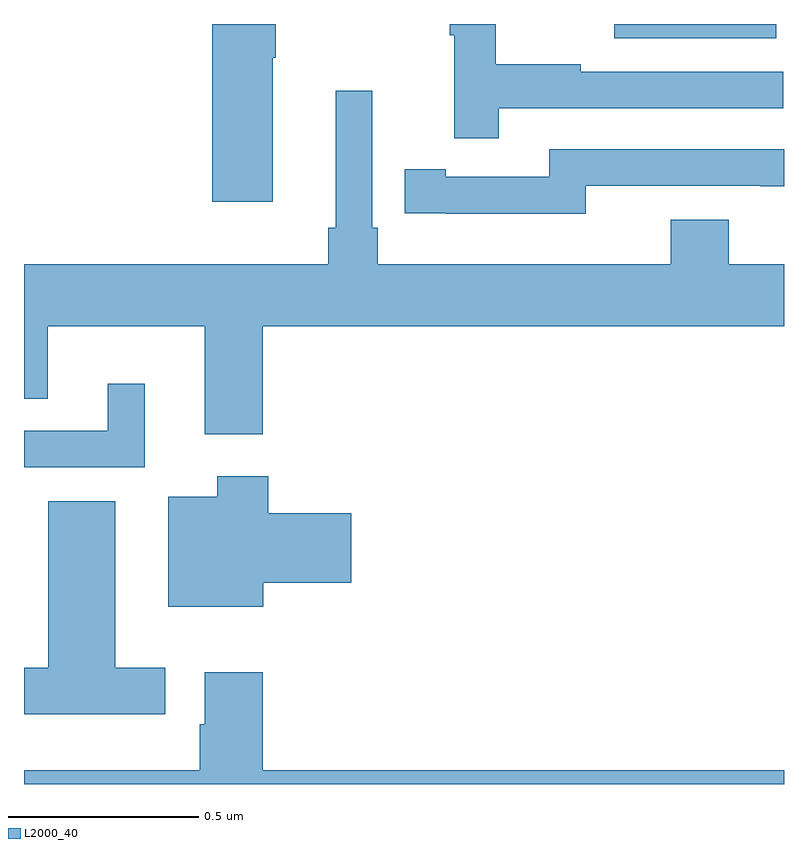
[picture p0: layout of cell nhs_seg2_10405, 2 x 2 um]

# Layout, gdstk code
import gdstk
lib = gdstk.Library(unit=1e-6, precision=1e-09)
def R(c, l, rs):  # rectangles x0, y0, x1, y1
    for r in rs: c.add(gdstk.rectangle(r[:2], r[2:], *l))
def P(c, l, *ps):  # polygons
    for p in ps: c.add(gdstk.Polygon(p, *l))
L2000_40 = (2000, 40)

nhs_seg2_10405 = lib.new_cell('nhs_seg2_10405')
R(nhs_seg2_10405, L2000_40, [(242.553,613.763,242.98,613.8)])
P(nhs_seg2_10405, L2000_40, [(242.249,613.578),(242.998,613.578),(242.998,613.674),(242.465,613.674),(242.465,613.694),(242.242,613.694),(242.242,613.8),(242.121,613.8),(242.121,613.771),(242.132,613.771),(242.132,613.5),(242.249,613.5)],
  [(241.654,613.711),(241.662,613.711),(241.662,613.8),(241.496,613.8),(241.496,613.332),(241.654,613.332)],
  [(241.628,613.004),(243,613.004),(243,613.168),(242.855,613.168),(242.855,613.285),(242.702,613.285),(242.702,613.168),(241.931,613.168),(241.931,613.264),(241.917,613.264),(241.917,613.624),(241.82,613.624),(241.82,613.264),(241.801,613.264),(241.801,613.168),(241,613.168),(241,612.814),(241.063,612.814),(241.063,613.004),(241.475,613.004),(241.475,612.72),(241.628,612.72)],
  [(242.478,613.374),(242.938,613.374),(242.938,613.373),(243,613.373),(243,613.47),(242.382,613.47),(242.382,613.398),(242.11,613.398),(242.11,613.418),(242.002,613.418),(242.002,613.302),(242.11,613.302),(242.11,613.301),(242.478,613.301)],
  [(241.318,612.853),(241.22,612.853),(241.22,612.729),(241,612.729),(241,612.633),(241.318,612.633)],
  [(241.63,612.329),(241.861,612.329),(241.861,612.512),(241.643,612.512),(241.643,612.61),(241.508,612.61),(241.508,612.556),(241.379,612.556),(241.379,612.266),(241.63,612.266)],
  [(241.372,612.106),(241.24,612.106),(241.24,612.544),(241.064,612.544),(241.064,612.106),(241,612.106),(241,611.984),(241.372,611.984)],
  [(243,611.836),(241.628,611.836),(241.628,612.094),(241.475,612.094),(241.475,611.957),(241.463,611.957),(241.463,611.836),(241,611.836),(241,611.8),(243,611.8)])

lib.write_gds('nhs_seg2_10405.gds')
